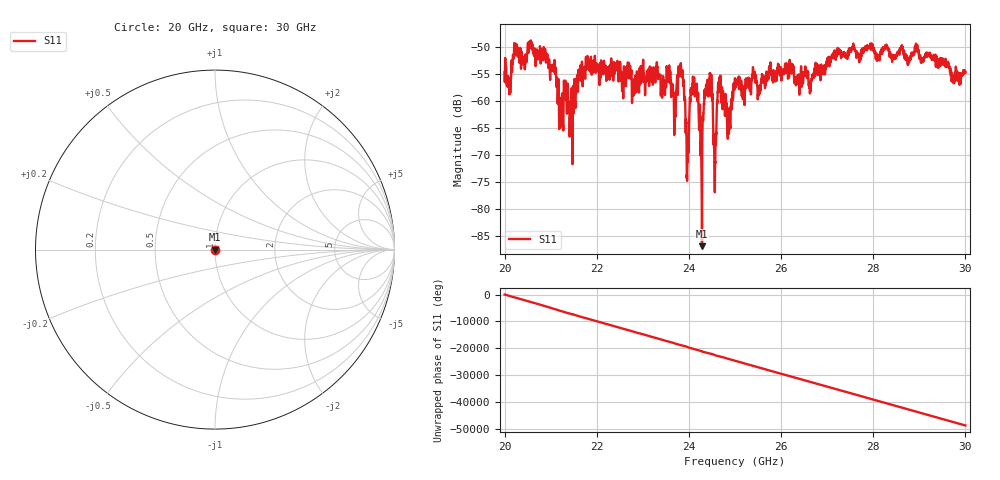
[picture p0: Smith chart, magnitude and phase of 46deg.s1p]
#  HZ  S  RI  R  50.00
! Rohde & Schwarz ZVA40 4Ports - Version 3.90 - 1145.1110k42 SN: 100403
! Date: 2023-10-03 10:43:49
! Measurement: S12
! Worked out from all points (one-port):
!   5001 points, 20 GHz to 30 GHz, reference 50 ohm
!   lowest |S11| = -87.0 dB at 24.28 GHz (marker M1), VSWR 1.00, Z = 50 + j0.00178 ohm
!   |S11| at or under -10 dB: start of sweep to end of sweep
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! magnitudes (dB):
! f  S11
! 20 GHz  -54.6
! 20.09 GHz  -57.1
! 20.23 GHz  -49.4
! 20.57 GHz  -49.5
! 21.07 GHz  -54.3
! 21.25 GHz  -58.7
! 21.45 GHz  -57.9
! 21.8 GHz  -52.3
! 22.5 GHz  -54.6
! 23.56 GHz  -56.4
! 23.68 GHz  -65.8
! 23.75 GHz  -55.8
! 23.85 GHz  -55.4
! 23.97 GHz  -70.4
! 24.06 GHz  -57.5
! 24.13 GHz  -58.6
! 24.28 GHz  -87.0
! 24.42 GHz  -58.7
! 24.48 GHz  -59.0
! 24.57 GHz  -71.2
! 24.67 GHz  -56.9
! 24.86 GHz  -62.3
! 25 GHz  -55.7
! 26.25 GHz  -53.4
! 26.64 GHz  -58.1
! 27.5 GHz  -50.6
! 28.75 GHz  -53.1
! 30 GHz  -54.6
